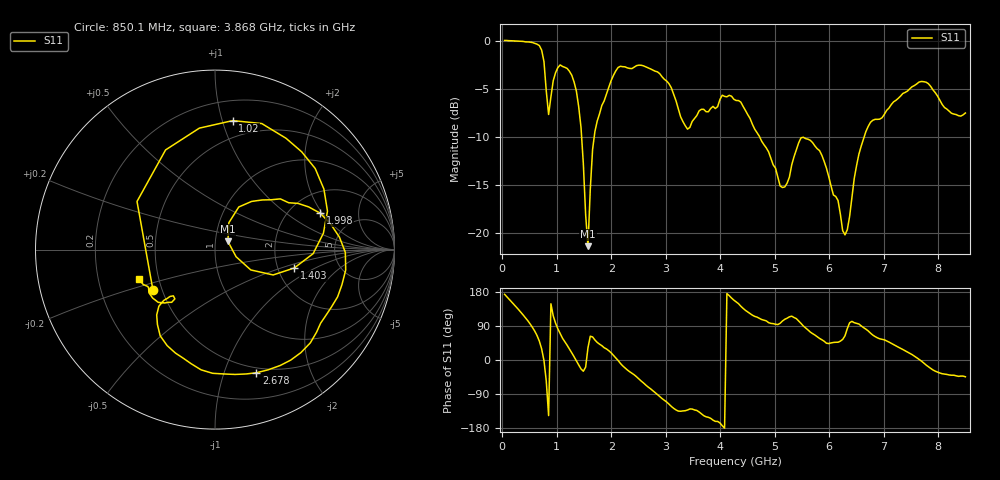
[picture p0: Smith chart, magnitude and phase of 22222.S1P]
!Keysight Technologies,E5071C,MY46106721,B.14.12
!Date: Thu Jun 12 12:18:08 2025
!Data & Calibration Information:
!Freq	S11:SOLT1(ON)
!PortZ  Port1:50+j0
!Above PortZ is port z conversion or system Z0 setting when saving the data.
!When reading, reference impedance value at option line is always used.
# Hz S dB R 50
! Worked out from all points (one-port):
!   200 points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, 42.6 MHz to 8.5 GHz, reference 50 ohm
!   lowest |S11| = -21.4 dB at 1.573 GHz (marker M1), VSWR 1.19, Z = 57.5 + j5.28 ohm
!   |S11| at or under -10 dB: 1.456 GHz to 1.688 GHz (231.5 MHz wide, 14.7 % of centre); 4.723 GHz to 6.642 GHz (1.919 GHz wide, 33.8 % of centre)
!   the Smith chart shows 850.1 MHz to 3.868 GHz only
!   S11 on the Smith chart (normalised r, x): 850.1 MHz: 0.45, -0.24; 1.02 GHz: 0.36, +1.08; 1.403 GHz: 2.46, -0.63; 1.998 GHz: 2.90, +1.91; 2.678 GHz: 0.45, -1.29; 3.868 GHz: 0.39, -0.16
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4.25995e7  0.04 173.3
5.10094e8  -0.13 95.4
6.375925e8  -0.34 64.6
7.225915e8  -0.96 29.3
7.65091e8  -2.16 -1.6
8.075905e8  -5.24 -55.9
8.5009e8  -7.67 -146.7
9.35089e8  -4.15 116.4
1.020088e9  -2.79 82.2
1.105087e9  -2.66 57.5
1.402584e9  -6.87 -13.1
1.572582e9  -21.40 32.4
1.70008e9  -9.45 52.8
1.997576e9  -4.14 19.0
2.167574e9  -2.65 -8.9
2.677568e9  -2.81 -71.4
3.230062e9  -7.05 -134.7
3.867554e9  -6.83 -158.6
4.29255e9  -6.22 153.5
5.10004e9  -15.13 97.0
5.355037e9  -12.07 112.0
5.822532e9  -11.44 57.0
6.290026e9  -20.22 63.9
6.417524e9  -16.29 102.0
6.715021e9  -8.93 76.9
7.480012e9  -4.99 17.6
7.905007e9  -5.11 -26.2
8.5e9  -7.52 -44.2
